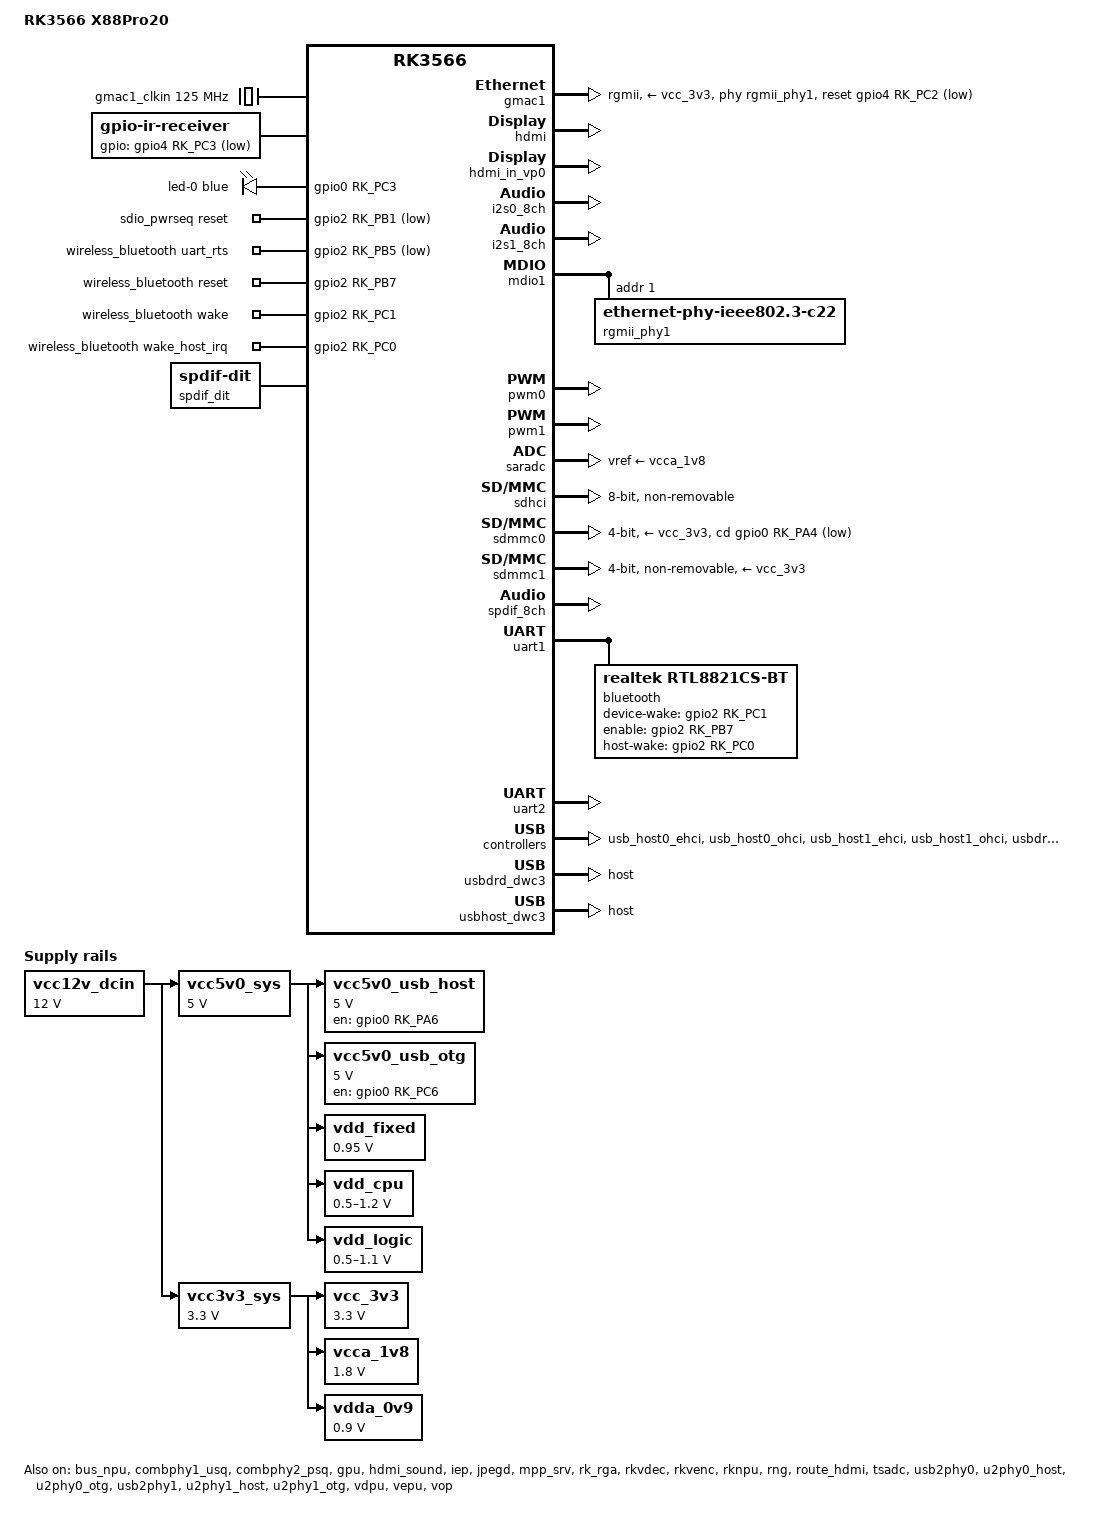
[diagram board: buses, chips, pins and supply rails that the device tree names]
// SPDX-License-Identifier: (GPL-2.0+ OR MIT)
/*
 * Device tree for Rockchip RK3566 BOX X88 Pro 20
 * BSP kernel (linux-6.1.y-rockchip)
 */

/dts-v1/;

#include <dt-bindings/gpio/gpio.h>
#include <dt-bindings/leds/common.h>
#include <dt-bindings/pinctrl/rockchip.h>
#include "rk3566.dtsi"

/ {
	model = "RK3566 X88Pro20";
	compatible = "rockchip,rk3566-x88pro20", "rockchip,rk3566";

	aliases {
		ethernet0 = &gmac1;
		mmc0 = &sdmmc0;
		mmc1 = &sdmmc1;
		mmc2 = &sdhci;
	};

	chosen {
		stdout-path = "serial2:1500000n8";
	};

	gmac1_clkin: external-gmac1-clock {
		compatible = "fixed-clock";
		clock-frequency = <125000000>;
		clock-output-names = "gmac1_clkin";
		#clock-cells = <0>;
	};

	ir-receiver {
		compatible = "gpio-ir-receiver";
		gpios = <&gpio4 RK_PC3 GPIO_ACTIVE_LOW>;
		pinctrl-names = "default";
		pinctrl-0 = <&ir_int>;
		linux,rc-map-name = "rc-beelink-gs1";
		status = "okay";
	};

	leds {
		compatible = "gpio-leds";

		led-0 {
			gpios = <&gpio0 RK_PC3 GPIO_ACTIVE_HIGH>;
			function = LED_FUNCTION_HEARTBEAT;
			color = <LED_COLOR_ID_BLUE>;
			linux,default-trigger = "heartbeat";
			pinctrl-names = "default";
			pinctrl-0 = <&led_work_en>;
		};
	};

	openvfd {
		compatible = "open,vfd";
		dev_name = "openvfd";
		status = "okay";
	};

	reserved-memory {
		#address-cells = <2>;
		#size-cells = <2>;
		ranges;

		rknpu_reserved: rknpu {
			compatible = "shared-dma-pool";
			inactive;
			reusable;
			size = <0x0 0x20000000>;
			alignment = <0x0 0x1000>;
		};
	};

	sdio_pwrseq: sdio-pwrseq {
		compatible = "mmc-pwrseq-simple";
		clocks = <&pmucru CLK_RTC_32K>;
		clock-names = "ext_clock";
		pinctrl-names = "default";
		pinctrl-0 = <&wifi_enable_h &wifi_32k>;
		reset-gpios = <&gpio2 RK_PB1 GPIO_ACTIVE_LOW>;
	};

	wireless_wlan: wireless-wlan {
		compatible = "wlan-platdata";
		rockchip,grf = <&grf>;
		wifi_chip_type = "rtl8821cs";
		status = "okay";
	};

	wireless_bluetooth: wireless-bluetooth {
		compatible = "bluetooth-platdata";
		clocks = <&pmucru CLK_RTC_32K>;
		clock-names = "ext_clock";
		uart_rts_gpios = <&gpio2 RK_PB5 GPIO_ACTIVE_LOW>;
		pinctrl-names = "default", "rts_gpio";
		pinctrl-0 = <&uart1m0_rtsn>;
		pinctrl-1 = <&uart1_gpios>;
		BT,reset_gpio    = <&gpio2 RK_PB7 GPIO_ACTIVE_HIGH>;
		BT,wake_gpio     = <&gpio2 RK_PC1 GPIO_ACTIVE_HIGH>;
		BT,wake_host_irq = <&gpio2 RK_PC0 GPIO_ACTIVE_HIGH>;
		status = "okay";
	};

	spdif_dit: spdif-dit {
		compatible = "linux,spdif-dit";
		#sound-dai-cells = <0>;
	};

	spdif_sound: spdif-sound {
		compatible = "simple-audio-card";
		simple-audio-card,name = "SPDIF";

		simple-audio-card,cpu {
			sound-dai = <&spdif_8ch>;
		};

		simple-audio-card,codec {
			sound-dai = <&spdif_dit>;
		};
	};

	vcc12v_dcin: regulator-vcc12v0-dcin {
		compatible = "regulator-fixed";
		regulator-name = "vcc12v0_dcin";
		regulator-always-on;
		regulator-boot-on;
		regulator-min-microvolt = <12000000>;
		regulator-max-microvolt = <12000000>;
	};

	vcc5v0_sys: regulator-vcc5v0-sys {
		compatible = "regulator-fixed";
		regulator-name = "vcc5v0_sys";
		regulator-always-on;
		regulator-boot-on;
		regulator-min-microvolt = <5000000>;
		regulator-max-microvolt = <5000000>;
		vin-supply = <&vcc12v_dcin>;
	};

	vcc3v3_sys: regulator-vcc3v3-sys {
		compatible = "regulator-fixed";
		regulator-name = "vcc3v3_sys";
		regulator-always-on;
		regulator-boot-on;
		regulator-min-microvolt = <3300000>;
		regulator-max-microvolt = <3300000>;
		vin-supply = <&vcc12v_dcin>;
	};

	vcc_3v3: regulator-vcc-3v3 {
		compatible = "regulator-fixed";
		regulator-name = "vcc_3v3";
		regulator-always-on;
		regulator-boot-on;
		regulator-min-microvolt = <3300000>;
		regulator-max-microvolt = <3300000>;
		vin-supply = <&vcc3v3_sys>;
	};

	vcc5v0_usb_host: regulator-vcc5v0-usb-host {
		compatible = "regulator-fixed";
		enable-active-high;
		gpio = <&gpio0 RK_PA6 GPIO_ACTIVE_HIGH>;
		pinctrl-names = "default";
		pinctrl-0 = <&vcc5v0_usb_host_en>;
		regulator-name = "vcc5v0_usb_host";
		regulator-min-microvolt = <5000000>;
		regulator-max-microvolt = <5000000>;
		vin-supply = <&vcc5v0_sys>;
	};

	vcc5v0_usb_otg: regulator-vcc5v0-usb2-otg {
		compatible = "regulator-fixed";
		enable-active-high;
		gpio = <&gpio0 RK_PC6 GPIO_ACTIVE_HIGH>;
		pinctrl-names = "default";
		pinctrl-0 = <&vcc5v0_usb2_otg_en>;
		regulator-name = "vcc5v0_usb_otg";
		regulator-min-microvolt = <5000000>;
		regulator-max-microvolt = <5000000>;
		vin-supply = <&vcc5v0_sys>;
	};

	vcca_1v8: regulator-vcca-1v8 {
		compatible = "regulator-fixed";
		regulator-name = "vcca_1v8";
		regulator-always-on;
		regulator-boot-on;
		regulator-min-microvolt = <1800000>;
		regulator-max-microvolt = <1800000>;
		vin-supply = <&vcc3v3_sys>;
	};

	vdda_0v9: regulator-vdda-0v9 {
		compatible = "regulator-fixed";
		regulator-name = "vdda_0v9";
		regulator-always-on;
		regulator-boot-on;
		regulator-min-microvolt = <900000>;
		regulator-max-microvolt = <900000>;
		vin-supply = <&vcc3v3_sys>;
	};

	vdd_fixed: regulator-vdd-fixed {
		compatible = "regulator-fixed";
		regulator-name = "vdd_fixed";
		regulator-min-microvolt = <950000>;
		regulator-max-microvolt = <950000>;
		regulator-always-on;
		regulator-boot-on;
		vin-supply = <&vcc5v0_sys>;
	};

	vdd_cpu: regulator-vdd-cpu {
		compatible = "pwm-regulator";
		pwms = <&pwm0 0 5000 1>;
		regulator-name = "vdd_cpu";
		regulator-min-microvolt = <500000>;
		regulator-max-microvolt = <1200000>;
		regulator-always-on;
		regulator-boot-on;
		regulator-settling-time-up-us = <250>;
		pwm-supply = <&vcc5v0_sys>;
	};

	vdd_logic: regulator-vdd-logic {
		compatible = "pwm-regulator";
		pwms = <&pwm1 0 5000 1>;
		regulator-name = "vdd_logic";
		regulator-min-microvolt = <500000>;
		regulator-max-microvolt = <1100000>;
		regulator-always-on;
		regulator-boot-on;
		regulator-settling-time-up-us = <250>;
		pwm-supply = <&vcc5v0_sys>;
	};
};

&bus_npu {
	bus-supply = <&vdd_logic>;
	pvtm-supply = <&vdd_cpu>;
	status = "okay";
};

&combphy1_usq {
	status = "okay";
};

&combphy2_psq {
	status = "okay";
};

&cpu0 {
	cpu-supply = <&vdd_cpu>;
};

&cpu1 {
	cpu-supply = <&vdd_cpu>;
};

&cpu2 {
	cpu-supply = <&vdd_cpu>;
};

&cpu3 {
	cpu-supply = <&vdd_cpu>;
};

&gmac1 {
	phy-mode = "rgmii";
	clock_in_out = "input";

	assigned-clocks = <&cru SCLK_GMAC1_RX_TX>, <&cru SCLK_GMAC1>;
	assigned-clock-parents = <&cru SCLK_GMAC1_RGMII_SPEED>, <&gmac1_clkin>;

	pinctrl-names = "default";
	pinctrl-0 = <&gmac1m1_miim
		     &gmac1m1_tx_bus2
		     &gmac1m1_rx_bus2
		     &gmac1m1_rgmii_clk
		     &gmac1m1_rgmii_bus
		     &gmac1m1_clkinout>;

	snps,reset-gpio = <&gpio4 RK_PC2 GPIO_ACTIVE_LOW>;
	snps,reset-active-low;
	snps,reset-delays-us = <0 20000 100000>;

	tx_delay = <0x4f>;
	rx_delay = <0x2d>;

	phy-handle = <&rgmii_phy1>;
	phy-supply = <&vcc_3v3>;
	status = "okay";
};

&gpu {
	mali-supply = <&vdd_logic>;
	status = "okay";
};

&hdmi {
	avdd-0v9-supply = <&vdda_0v9>;
	avdd-1v8-supply = <&vcca_1v8>;
	assigned-clocks = <&cru CLK_HDMI_CEC>;
	assigned-clock-rates = <32768>;
	status = "okay";
	rockchip,phy-table =
		<92812500  0x8009 0x0000 0x0270>,
		<165000000 0x800b 0x0000 0x026d>,
		<185625000 0x800b 0x0000 0x01ed>,
		<297000000 0x800b 0x0000 0x01ad>,
		<594000000 0x8029 0x0000 0x0088>,
		<000000000 0x0000 0x0000 0x0000>;
};

&hdmi_in_vp0 {
	status = "okay";
};

&hdmi_in_vp1 {
	status = "disabled";
};

&hdmi_sound {
	status = "okay";
};

&i2s0_8ch {
	status = "okay";
};

&i2s1_8ch {
	rockchip,trcm-sync-tx-only;
	status = "okay";
};

&iep {
	status = "okay";
};

&iep_mmu {
	status = "okay";
};

&jpegd {
	status = "okay";
};

&jpegd_mmu {
	status = "okay";
};

&mdio1 {
	rgmii_phy1: ethernet-phy@1 {
		compatible = "ethernet-phy-ieee802.3-c22";
		reg = <1>;
	};
};

&mpp_srv {
	status = "okay";
};

&pinctrl {
	bt {
		bt_enable_h: bt-enable-h {
			rockchip,pins = <2 RK_PB7 RK_FUNC_GPIO &pcfg_pull_none>;
		};

		bt_host_wake_l: bt-host-wake-l {
			rockchip,pins = <2 RK_PC0 RK_FUNC_GPIO &pcfg_pull_down>;
		};

		bt_wake_l: bt-wake-l {
			rockchip,pins = <2 RK_PC1 RK_FUNC_GPIO &pcfg_pull_none>;
		};
	};

	ir {
		ir_int: ir-int {
			rockchip,pins = <4 RK_PC3 RK_FUNC_GPIO &pcfg_pull_none>;
		};
	};

	leds {
		led_work_en: led-work-en {
			rockchip,pins = <0 RK_PC3 RK_FUNC_GPIO &pcfg_pull_none>;
		};
	};

	sdio-pwrseq {
		wifi_enable_h: wifi-enable-h {
			rockchip,pins = <2 RK_PB1 RK_FUNC_GPIO &pcfg_pull_none>;
		};

		wifi_32k: wifi-32k {
			rockchip,pins = <2 RK_PC6 1 &pcfg_pull_none>;
		};
	};

	wireless-bluetooth {
		uart1_gpios: uart1-gpios {
			rockchip,pins = <2 RK_PB5 RK_FUNC_GPIO &pcfg_pull_none>;
		};
	};

	usb {
		vcc5v0_usb_host_en: vcc5v0-usb-host-en {
			rockchip,pins = <0 RK_PA6 RK_FUNC_GPIO &pcfg_pull_none>;
		};

		vcc5v0_usb2_otg_en: vcc5v0-usb2-otg-en {
			rockchip,pins = <0 RK_PC6 RK_FUNC_GPIO &pcfg_pull_none>;
		};
	};
};

&pmu_io_domains {
	pmuio2-supply = <&vcc_3v3>;
	vccio1-supply = <&vcc_3v3>;
	vccio3-supply = <&vcc_3v3>;
	vccio4-supply = <&vcca_1v8>;
	vccio5-supply = <&vcc_3v3>;
	vccio6-supply = <&vcca_1v8>;
	vccio7-supply = <&vcc_3v3>;
	status = "okay";
};

&pwm0 {
	status = "okay";
};

&pwm1 {
	status = "okay";
};

&rk_rga {
	status = "okay";
};

&rkvdec {
	status = "okay";
};

&rkvdec_mmu {
	status = "okay";
};

&rkvenc {
	venc-supply = <&vdd_logic>;
	status = "okay";
};

&rkvenc_mmu {
	status = "okay";
};

&rknpu {
	memory-region = <&rknpu_reserved>;
	rknpu-supply = <&vdd_logic>;
	status = "okay";
};

&rknpu_mmu {
	status = "okay";
};

&rng {
	status = "okay";
};

&rockchip_suspend {
	status = "okay";
};

&route_hdmi {
	status = "okay";
	connect = <&vp0_out_hdmi>;
};

&saradc {
	vref-supply = <&vcca_1v8>;
	status = "okay";
};

&sdhci {
	bus-width = <8>;
	mmc-hs200-1_8v;
	non-removable;
	status = "okay";
};

&sdmmc0 {
	bus-width = <4>;
	cap-sd-highspeed;
	cd-gpios = <&gpio0 RK_PA4 GPIO_ACTIVE_LOW>;
	disable-wp;
	pinctrl-names = "default";
	pinctrl-0 = <&sdmmc0_bus4 &sdmmc0_clk &sdmmc0_cmd &sdmmc0_det>;
	vmmc-supply = <&vcc_3v3>;
	status = "okay";
};

&sdmmc1 {
	supports-sdio;
	bus-width = <4>;
	cap-sd-highspeed;
	cap-sdio-irq;
	keep-power-in-suspend;
	max-frequency = <150000000>;
	mmc-pwrseq = <&sdio_pwrseq>;
	non-removable;
	no-sd;
	no-mmc;
	rockchip,default-sample-phase = <90>;
	pinctrl-names = "default";
	pinctrl-0 = <&sdmmc1_bus4 &sdmmc1_cmd &sdmmc1_clk>;
	sd-uhs-sdr104;
	vmmc-supply = <&vcc_3v3>;
	vqmmc-supply = <&vcca_1v8>;
	status = "okay";
};

&spdif_8ch {
	status = "okay";
};

&tsadc {
	rockchip,hw-tshut-mode = <1>;
	rockchip,hw-tshut-polarity = <0>;
	status = "okay";
};

&uart1 {
	status = "okay";
	pinctrl-names = "default";
	pinctrl-0 = <&uart1m0_xfer &uart1m0_ctsn>;
	uart-has-rtscts;

	bluetooth {
		compatible = "realtek,rtl8821cs-bt", "realtek,rtl8723bs-bt";
		device-wake-gpios = <&gpio2 RK_PC1 GPIO_ACTIVE_HIGH>;
		enable-gpios = <&gpio2 RK_PB7 GPIO_ACTIVE_HIGH>;
		host-wake-gpios = <&gpio2 RK_PC0 GPIO_ACTIVE_HIGH>;
	};
};

&uart2 {
	status = "okay";
};

&usb2phy0 {
	status = "okay";
};

&u2phy0_host {
	phy-supply = <&vcc5v0_usb_host>;
	status = "okay";
};

&u2phy0_otg {
	phy-supply = <&vcc5v0_usb_otg>;
	status = "okay";
};

&usb2phy1 {
	status = "okay";
};

&u2phy1_host {
	phy-supply = <&vcc5v0_usb_host>;
	status = "okay";
};

&u2phy1_otg {
	phy-supply = <&vcc5v0_usb_otg>;
	status = "okay";
};

&usb_host0_ehci {
	status = "okay";
};

&usb_host0_ohci {
	status = "okay";
};

&usb_host1_ehci {
	status = "okay";
};

&usb_host1_ohci {
	status = "okay";
};

&usbdrd_dwc3 {
	dr_mode = "host";
	status = "okay";
};

&usbdrd30 {
	status = "okay";
};

&usbhost_dwc3 {
	dr_mode = "host";
	status = "okay";
};

&usbhost30 {
	status = "okay";
};

&vdpu {
	status = "okay";
};

&vdpu_mmu {
	status = "okay";
};

&vepu {
	status = "okay";
};

&vepu_mmu {
	status = "okay";
};

&vop {
	status = "okay";
	assigned-clocks = <&cru DCLK_VOP0>, <&cru DCLK_VOP1>;
	assigned-clock-parents = <&pmucru PLL_HPLL>, <&cru PLL_VPLL>;
};

&vop_mmu {
	status = "okay";
};
